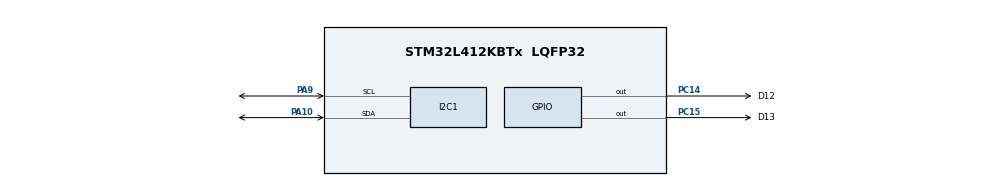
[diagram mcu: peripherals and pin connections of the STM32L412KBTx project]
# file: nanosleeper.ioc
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Mcu.Family=STM32L4
Mcu.Name=STM32L412KBTx
Mcu.Package=LQFP32
NVIC.PriorityGroup=NVIC_PRIORITYGROUP_4
PA0-CK_IN.GPIO_Label=RTC_WKUP
PA0-CK_IN.Mode=SYS_WakeUp0
PA0-CK_IN.Signal=SYS_WKUP1
PA10.Mode=I2C
PA10.Signal=I2C1_SDA
PA13\ (JTMS/SWDIO).Mode=Serial_Wire
PA13\ (JTMS/SWDIO).Signal=SYS_JTMS-SWDIO
PA14\ (JTCK/SWCLK).Mode=Serial_Wire
PA14\ (JTCK/SWCLK).Signal=SYS_JTCK-SWCLK
PA9.Mode=I2C
PA9.Signal=I2C1_SCL
PC14-OSC32_IN\ (PC14).GPIO_Label=D12
PC14-OSC32_IN\ (PC14).Signal=GPIO_Output
PC15-OSC32_OUT\ (PC15).GPIO_Label=D13
PC15-OSC32_OUT\ (PC15).Signal=GPIO_Output
ProjectManager.HeapSize=0x200
ProjectManager.StackSize=0x400
ProjectManager.TargetToolchain=STM32CubeIDE
RCC.ADCFreq_Value=4000000
RCC.HSE_VALUE=8000000
RCC.HSI48_VALUE=48000000
RCC.HSI_VALUE=16000000
RCC.LSE_VALUE=32768
RCC.MSI_VALUE=4000000
RCC.USBFreq_Value=4000000
RCC.VCOOutputFreq_Value=32000000
board=custom

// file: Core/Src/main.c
/* USER CODE BEGIN Header */
/**
  ******************************************************************************
  * @file           : main.c
  * @brief          : Main program body
  ******************************************************************************
  * @attention
  *
  * <h2><center>&copy; Copyright (c) 2024 STMicroelectronics.
  * All rights reserved.</center></h2>
  *
  * This software component is licensed by ST under BSD 3-Clause license,
  * the "License"; You may not use this file except in compliance with the
  * License. You may obtain a copy of the License at:
  *                        opensource.org/licenses/BSD-3-Clause
  *
  ******************************************************************************
  */
/* USER CODE END Header */

#include "main.h"

/* USER CODE BEGIN Includes */
#include "rv_3028_c7.h"

/* USER CODE END Includes */

I2C_HandleTypeDef hi2c1;

void SystemClock_Config(void);
static void MX_GPIO_Init(void);
static void MX_I2C1_Init(void);

int main(void)
{

  /* MCU Configuration--------------------------------------------------------*/

  /* Reset of all peripherals, Initializes the Flash interface and the Systick. */
  HAL_Init();

  /* Configure the system clock */
  SystemClock_Config();

  /* Initialize all configured peripherals */
  MX_GPIO_Init();
  MX_I2C1_Init();
  /* USER CODE BEGIN 2 */

  // Toggle LED to indicate awake
  HAL_GPIO_WritePin(D12_GPIO_Port, D12_Pin, GPIO_PIN_SET);
  HAL_GPIO_WritePin(D13_GPIO_Port, D13_Pin, GPIO_PIN_SET);
  HAL_Delay(5000);
  HAL_GPIO_WritePin(D12_GPIO_Port, D12_Pin, GPIO_PIN_RESET);
  HAL_GPIO_WritePin(D13_GPIO_Port, D13_Pin, GPIO_PIN_RESET);
  HAL_Delay(2000);

  // Set up RTC, checking if it's already been set up
  bool is_initial_setup = true;
  uint32_t current_time_utc = 1705968815;
  bool rv_3028_setup_ok = init_rv_3028_c7(hi2c1, current_time_utc, is_initial_setup);

  // Go to shutdown mode, with pin wakeup.
  HAL_PWR_DisableWakeUpPin(PWR_WAKEUP_PIN1);

  /* Enable wakeup pin WKUP1 */
  HAL_PWREx_EnableGPIOPullDown(PWR_GPIO_C, PWR_GPIO_BIT_14);
  HAL_PWREx_EnableGPIOPullDown(PWR_GPIO_C, PWR_GPIO_BIT_15);
  HAL_PWREx_EnableGPIOPullUp(PWR_GPIO_A, PWR_GPIO_BIT_0);
  HAL_PWREx_EnablePullUpPullDownConfig();
  HAL_PWR_EnableWakeUpPin(PWR_WAKEUP_PIN1_LOW);
  HAL_PWREx_DisableInternalWakeUpLine();

  /* enter shutdown */
  __HAL_RCC_PWR_CLK_ENABLE();
  __HAL_PWR_CLEAR_FLAG(PWR_FLAG_WUF1);
  HAL_PWREx_EnterSHUTDOWNMode();

  /* USER CODE END 2 */

  /* Infinite loop */
  while (1)
  {

  }
}

void SystemClock_Config(void)
{
  RCC_OscInitTypeDef RCC_OscInitStruct = {0};
  RCC_ClkInitTypeDef RCC_ClkInitStruct = {0};
  RCC_PeriphCLKInitTypeDef PeriphClkInit = {0};

  /** Configure the main internal regulator output voltage
  */
  if (HAL_PWREx_ControlVoltageScaling(PWR_REGULATOR_VOLTAGE_SCALE1) != HAL_OK)
  {
    Error_Handler();
  }
  /** Initializes the CPU, AHB and APB busses clocks
  */
  RCC_OscInitStruct.OscillatorType = RCC_OSCILLATORTYPE_MSI;
  RCC_OscInitStruct.MSIState = RCC_MSI_ON;
  RCC_OscInitStruct.MSICalibrationValue = 0;
  RCC_OscInitStruct.MSIClockRange = RCC_MSIRANGE_6;
  RCC_OscInitStruct.PLL.PLLState = RCC_PLL_NONE;
  if (HAL_RCC_OscConfig(&RCC_OscInitStruct) != HAL_OK)
  {
    Error_Handler();
  }
  /** Initializes the CPU, AHB and APB busses clocks
  */
  RCC_ClkInitStruct.ClockType = RCC_CLOCKTYPE_HCLK|RCC_CLOCKTYPE_SYSCLK
                              |RCC_CLOCKTYPE_PCLK1|RCC_CLOCKTYPE_PCLK2;
  RCC_ClkInitStruct.SYSCLKSource = RCC_SYSCLKSOURCE_MSI;
  RCC_ClkInitStruct.AHBCLKDivider = RCC_SYSCLK_DIV1;
  RCC_ClkInitStruct.APB1CLKDivider = RCC_HCLK_DIV1;
  RCC_ClkInitStruct.APB2CLKDivider = RCC_HCLK_DIV1;

  if (HAL_RCC_ClockConfig(&RCC_ClkInitStruct, FLASH_LATENCY_0) != HAL_OK)
  {
    Error_Handler();
  }
  PeriphClkInit.PeriphClockSelection = RCC_PERIPHCLK_I2C1;
  PeriphClkInit.I2c1ClockSelection = RCC_I2C1CLKSOURCE_PCLK1;
  if (HAL_RCCEx_PeriphCLKConfig(&PeriphClkInit) != HAL_OK)
  {
    Error_Handler();
  }
}

static void MX_I2C1_Init(void)
{

  hi2c1.Instance = I2C1;
  hi2c1.Init.Timing = 0x00000E14;
  hi2c1.Init.OwnAddress1 = 0;
  hi2c1.Init.AddressingMode = I2C_ADDRESSINGMODE_7BIT;
  hi2c1.Init.DualAddressMode = I2C_DUALADDRESS_DISABLE;
  hi2c1.Init.OwnAddress2 = 0;
  hi2c1.Init.OwnAddress2Masks = I2C_OA2_NOMASK;
  hi2c1.Init.GeneralCallMode = I2C_GENERALCALL_DISABLE;
  hi2c1.Init.NoStretchMode = I2C_NOSTRETCH_DISABLE;
  if (HAL_I2C_Init(&hi2c1) != HAL_OK)
  {
    Error_Handler();
  }
  /** Configure Analogue filter
  */
  if (HAL_I2CEx_ConfigAnalogFilter(&hi2c1, I2C_ANALOGFILTER_ENABLE) != HAL_OK)
  {
    Error_Handler();
  }
  /** Configure Digital filter
  */
  if (HAL_I2CEx_ConfigDigitalFilter(&hi2c1, 0) != HAL_OK)
  {
    Error_Handler();
  }

}

static void MX_GPIO_Init(void)
{
  GPIO_InitTypeDef GPIO_InitStruct = {0};

  /* GPIO Ports Clock Enable */
  __HAL_RCC_GPIOC_CLK_ENABLE();
  __HAL_RCC_GPIOA_CLK_ENABLE();

  /*Configure GPIO pin Output Level */
  HAL_GPIO_WritePin(GPIOC, D12_Pin|D13_Pin, GPIO_PIN_RESET);

  /*Configure GPIO pins : D12_Pin D13_Pin */
  GPIO_InitStruct.Pin = D12_Pin|D13_Pin;
  GPIO_InitStruct.Mode = GPIO_MODE_OUTPUT_PP;
  GPIO_InitStruct.Pull = GPIO_NOPULL;
  GPIO_InitStruct.Speed = GPIO_SPEED_FREQ_LOW;
  HAL_GPIO_Init(GPIOC, &GPIO_InitStruct);

}

void Error_Handler(void)
{
}

/************************ (C) COPYRIGHT STMicroelectronics *****END OF FILE****/
